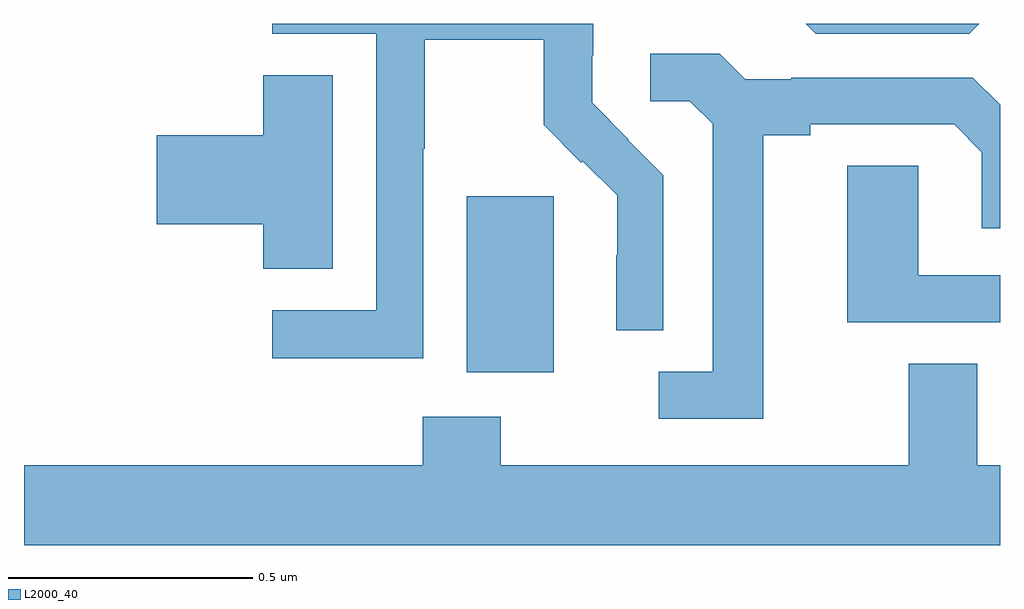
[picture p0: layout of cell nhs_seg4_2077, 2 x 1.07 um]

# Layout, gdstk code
import gdstk
lib = gdstk.Library(unit=1e-6, precision=1e-09)
def R(c, l, rs):  # rectangles x0, y0, x1, y1
    for r in rs: c.add(gdstk.rectangle(r[:2], r[2:], *l))
def P(c, l, *ps):  # polygons
    for p in ps: c.add(gdstk.Polygon(p, *l))
L2000_40 = (2000, 40)

nhs_seg4_2077 = lib.new_cell('nhs_seg4_2077')
R(nhs_seg4_2077, L2000_40, [(136.907,785.186,137.086,785.547)])
P(nhs_seg4_2077, L2000_40, [(136.818,785.644),(136.821,785.644),(136.821,785.868),(137.065,785.868),(137.065,785.693),(137.142,785.616),(137.145,785.619),(137.216,785.549),(137.216,785.426),(137.214,785.426),(137.214,785.272),(137.31,785.272),(137.31,785.59),(137.237,785.663),(137.238,785.664),(137.164,785.738),(137.164,785.835),(137.166,785.835),(137.166,785.9),(136.509,785.9),(136.509,785.88),(136.722,785.88),(136.722,785.313),(136.509,785.313),(136.509,785.215),(136.818,785.215)],
  [(137.957,785.9),(137.602,785.9),(137.622,785.88),(137.937,785.88)],
  [(137.515,785.672),(137.611,785.672),(137.611,785.694),(137.906,785.694),(137.963,785.637),(137.963,785.481),(138,785.481),(138,785.734),(137.944,785.79),(137.572,785.79),(137.572,785.787),(137.478,785.787),(137.426,785.839),(137.283,785.839),(137.283,785.742),(137.364,785.742),(137.411,785.695),(137.411,785.187),(137.301,785.187),(137.301,785.091),(137.515,785.091)],
  [(136.633,785.795),(136.49,785.795),(136.49,785.672),(136.272,785.672),(136.272,785.489),(136.49,785.489),(136.49,785.398),(136.633,785.398)],
  [(138,785.385),(137.832,785.385),(137.832,785.609),(137.687,785.609),(137.687,785.289),(138,785.289)],
  [(138,784.996),(137.953,784.996),(137.953,785.204),(137.813,785.204),(137.813,784.996),(136.977,784.996),(136.977,785.095),(136.817,785.095),(136.817,784.996),(136,784.996),(136,784.832),(138,784.832)])

lib.write_gds('nhs_seg4_2077.gds')
